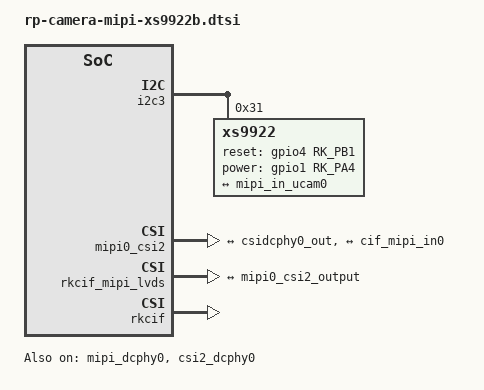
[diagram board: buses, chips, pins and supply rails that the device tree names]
/**
 * mipi csi to xs9922b config
 */
 

&i2c3 {
        status = "okay";
        pinctrl-names = "default";
        pinctrl-0 = <&i2c3m1_xfer>;


        xs9922: xs9922@31 {
                compatible = "xs9922";
                status = "okay";
                reg = <0x31>;
                clocks = <&cru CLK_MIPI_CAMARAOUT_M1>;
                clock-names = "xvclk";
                power-domains = <&power RK3588_PD_VI>;
                pinctrl-names = "default";
                pinctrl-0 = <&xs9922_pwr>;
                reset-gpios = <&gpio4 RK_PB1 GPIO_ACTIVE_HIGH>;
                power-gpios = <&gpio1 RK_PA4 GPIO_ACTIVE_HIGH>;
                //avdd-supply = <&vcc_avdd>;
                //dovdd-supply = <&vcc_dovdd>;
                //dvdd-supply = <&vcc_dvdd>;
                rockchip,camera-module-index = <0>;
                rockchip,camera-module-facing = "back";
                rockchip,camera-module-name = "default";
                rockchip,camera-module-lens-name = "default";
                rockchip,default_rect= <1280 720>; 
                port {
                        ucam_out0: endpoint {
                                remote-endpoint = <&mipi_in_ucam0>;
                                data-lanes = <1 2 3 4>;
                        };
                };
        };
};

&pinctrl {
        xs9922 {
                xs9922_pwr: camera-pwr {
                        rockchip,pins =
                            <1 RK_PA4 RK_FUNC_GPIO &pcfg_pull_none>,
                            <4 RK_PB1 RK_FUNC_GPIO &pcfg_pull_none>;
                };
        };
};




&mipi_dcphy0 {
    status = "okay";
};










// CIF


&csi2_dcphy0 {
        status = "okay";

        ports {
                #address-cells = <1>;
                #size-cells = <0>;
                port@0 {
                        reg = <0>;
                        #address-cells = <1>;
                        #size-cells = <0>;

                        mipi_in_ucam0: endpoint@1 {
                                reg = <1>;
                                remote-endpoint = <&ucam_out0>;
                                data-lanes = <1 2 3 4>;
                        };
                };
                port@1 {
                        reg = <1>;
                        #address-cells = <1>;
                        #size-cells = <0>;

                        csidcphy0_out: endpoint@0 {
                                reg = <0>;
                                remote-endpoint = <&mipi0_csi2_input>;
                        };
                };
        };
};


&mipi0_csi2 {
    status = "okay";

    ports {
        #address-cells = <1>;
        #size-cells = <0>;

        port@0 {
            reg = <0>;
            #address-cells = <1>;
            #size-cells = <0>;

            mipi0_csi2_input: endpoint@1 {
                reg = <1>;
                remote-endpoint = <&csidcphy0_out>;
            };
        };

        port@1 {
            reg = <1>;
            #address-cells = <1>;
            #size-cells = <0>;
            
            mipi0_csi2_output: endpoint@0 {
                reg = <0>;
                remote-endpoint = <&cif_mipi_in0>;
            };

        };
    };
};


&rkcif_mipi_lvds {
    status = "okay";

    port {
        cif_mipi_in0: endpoint {
            remote-endpoint = <&mipi0_csi2_output>;
        };
    };
};


&rkcif {
    status = "okay";
};

&rkcif_mmu {
    status = "okay";
};



#if 0

// isp
&mipi0_csi2 {
    status = "okay";

    ports {
        #address-cells = <1>;
        #size-cells = <0>;

        port@0 {
            reg = <0>;
            #address-cells = <1>;
            #size-cells = <0>;

            mipi0_csi2_input: endpoint@1 {
                reg = <1>;
                remote-endpoint = <&csidcphy0_out>;
            };
        };

        port@1 {
            reg = <1>;
            #address-cells = <1>;
            #size-cells = <0>;

            mipi2_csi2_output: endpoint@0 {
                reg = <0>;
                remote-endpoint = <&cif_mipi_in2>;
            };
        };
    };
};


&rkcif_mipi_lvds2 {
    status = "okay";
    port {
        cif_mipi_in2: endpoint {
            remote-endpoint = <&mipi2_csi2_output>;
        };
    };
};


#endif




#if 0

&rkcif_mipi_lvds2_sditf {
    status = "okay";
    port {
        mipi1_lvds_sditf: endpoint {
            remote-endpoint = <&isp0_vir0>;
        };
    };
};


&rkcif_mipi_lvds_sditf {
    status = "okay";

    port {
        mipi_lvds_sditf: endpoint {
            remote-endpoint = <&isp1_in1>;
        };
    };
};


&rkisp_unite {
    status = "okay";
};

&rkisp_unite_mmu {
    status = "okay";
};

&rkisp0_vir0 {
    status = "okay";
    /*
     * dual isp process image case
     * other rkisp hw and virtual nodes should disabled
     */
    rockchip,hw = <&rkisp_unite>;
    port {
        #address-cells = <1>;
        #size-cells = <0>;

        isp0_vir0: endpoint@1 {
            reg = <1>;
            remote-endpoint = <&mipi1_lvds_sditf>;
        };
/*
        isp1_in1: endpoint@0 {
            reg = <0>;
            remote-endpoint = <&mipi_lvds_sditf>;
        };
  */  
    };
};


#endif
